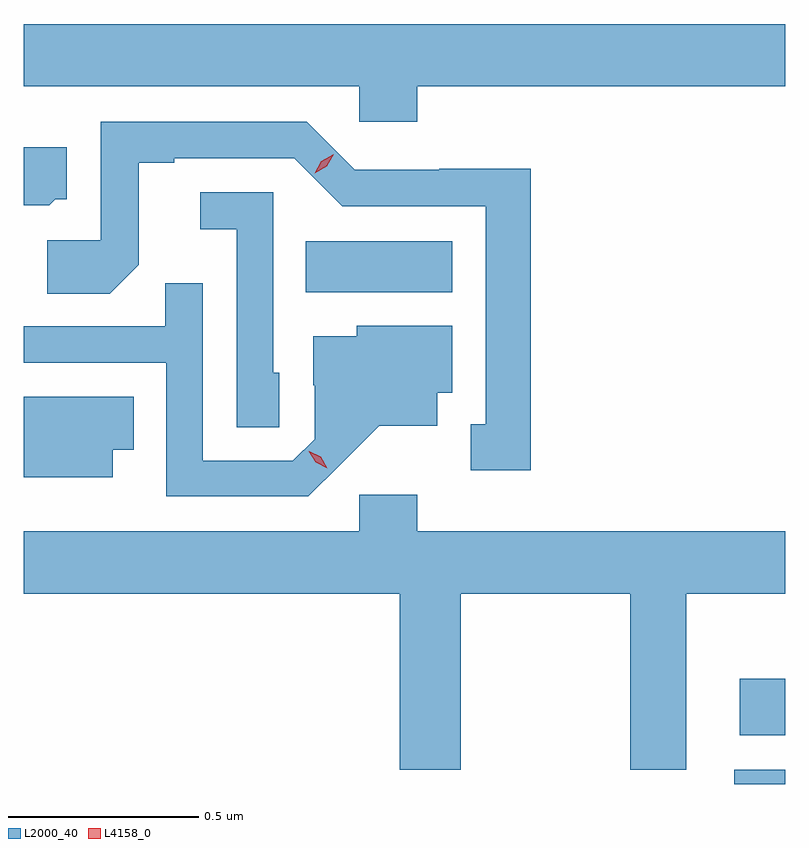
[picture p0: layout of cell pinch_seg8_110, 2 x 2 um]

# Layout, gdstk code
import gdstk
lib = gdstk.Library(unit=1e-6, precision=1e-09)
def R(c, l, rs):  # rectangles x0, y0, x1, y1
    for r in rs: c.add(gdstk.rectangle(r[:2], r[2:], *l))
def P(c, l, *ps):  # polygons
    for p in ps: c.add(gdstk.Polygon(p, *l))
L2000_40 = (2000, 40)
L4158_0 = (4158, 0)

pinch_seg8_110 = lib.new_cell('pinch_seg8_110')
R(pinch_seg8_110, L2000_40, [(1034.707,1089.361,1034.841,1089.399), (1034.721,1089.489,1034.841,1089.637), (1033.582,1090.652,1033.966,1090.786)])
P(pinch_seg8_110, L2000_40, [(1032.841,1091.192),(1033.722,1091.192),(1033.722,1091.099),(1033.874,1091.099),(1033.874,1091.192),(1034.841,1091.192),(1034.841,1091.356),(1032.841,1091.356)],
  [(1034.173,1090.976),(1033.932,1090.976),(1033.932,1090.974),(1033.71,1090.974),(1033.584,1091.1),(1033.044,1091.1),(1033.044,1090.788),(1032.903,1090.788),(1032.903,1090.648),(1033.067,1090.648),(1033.143,1090.724),(1033.143,1090.992),(1033.237,1090.992),(1033.237,1091.004),(1033.551,1091.004),(1033.677,1090.878),(1034.054,1090.878),(1034.054,1090.305),(1034.015,1090.305),(1034.015,1090.185),(1034.173,1090.185)],
  [(1032.924,1090.896),(1032.955,1090.896),(1032.955,1091.032),(1032.841,1091.032),(1032.841,1090.88),(1032.908,1090.88)],
  [(1033.512,1090.44),(1033.497,1090.44),(1033.497,1090.914),(1033.305,1090.914),(1033.305,1090.817),(1033.401,1090.817),(1033.401,1090.297),(1033.512,1090.297)],
  [(1033.672,1090.199),(1033.775,1090.301),(1033.927,1090.301),(1033.927,1090.388),(1033.966,1090.388),(1033.966,1090.564),(1033.716,1090.564),(1033.716,1090.537),(1033.601,1090.537),(1033.601,1090.408),(1033.605,1090.408),(1033.605,1090.266),(1033.548,1090.209),(1033.311,1090.209),(1033.311,1090.676),(1033.213,1090.676),(1033.213,1090.563),(1032.841,1090.563),(1032.841,1090.467),(1033.215,1090.467),(1033.215,1090.116),(1033.588,1090.116)],
  [(1033.075,1090.238),(1033.13,1090.238),(1033.13,1090.378),(1032.841,1090.378),(1032.841,1090.166),(1033.075,1090.166)],
  [(1033.989,1089.86),(1034.434,1089.86),(1034.434,1089.399),(1034.581,1089.399),(1034.581,1089.86),(1034.841,1089.86),(1034.841,1090.024),(1033.874,1090.024),(1033.874,1090.12),(1033.722,1090.12),(1033.722,1090.024),(1032.841,1090.024),(1032.841,1089.86),(1033.829,1089.86),(1033.829,1089.399),(1033.989,1089.399)])
P(pinch_seg8_110, L4158_0, [(1033.605,1090.964),(1033.605,1090.964),(1033.623,1090.996),(1033.655,1091.014),(1033.655,1091.014),(1033.655,1091.014),(1033.637,1090.982),(1033.605,1090.964)],
  [(1033.638,1090.19),(1033.608,1090.205),(1033.59,1090.234),(1033.59,1090.235),(1033.591,1090.235),(1033.621,1090.22),(1033.638,1090.19),(1033.638,1090.19)])

lib.write_gds('pinch_seg8_110.gds')
